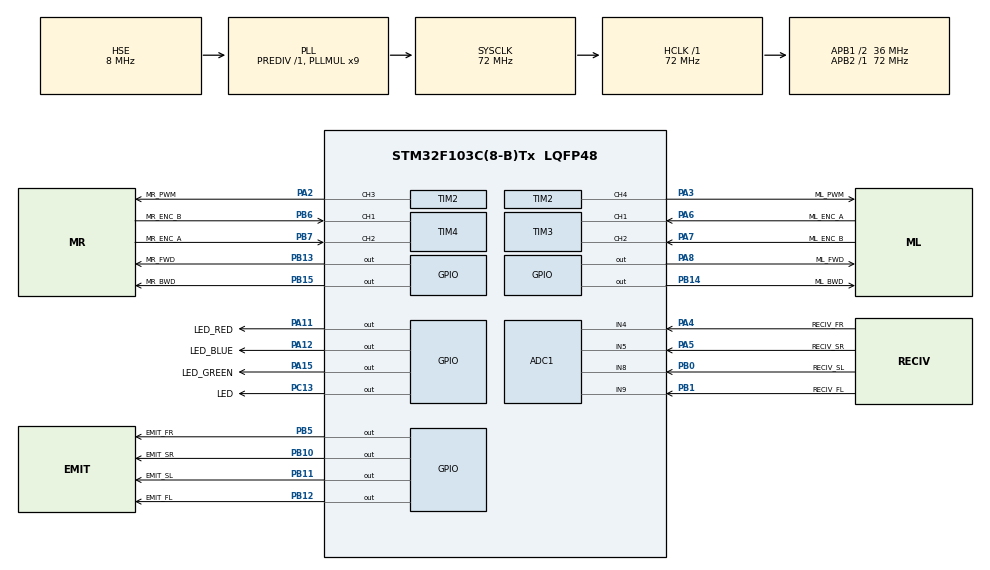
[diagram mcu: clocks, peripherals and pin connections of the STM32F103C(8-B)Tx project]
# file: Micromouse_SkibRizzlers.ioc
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ADC1.Channel-0\#ChannelRegularConversion=ADC_CHANNEL_9
ADC1.NbrOfConversionFlag=1
ADC1.Rank-0\#ChannelRegularConversion=1
ADC1.SamplingTime-0\#ChannelRegularConversion=ADC_SAMPLETIME_1CYCLE_5
ADC1.master=1
Mcu.Family=STM32F1
Mcu.Name=STM32F103C(8-B)Tx
Mcu.Package=LQFP48
NVIC.PriorityGroup=NVIC_PRIORITYGROUP_4
NVIC.TIM3_IRQn=true\:0\:0\:false\:false\:true\:true\:true\:true
NVIC.TIM4_IRQn=true\:0\:0\:false\:false\:true\:true\:true\:true
PA11.GPIO_Label=LED_RED
PA11.Signal=GPIO_Output
PA12.GPIO_Label=LED_BLUE
PA12.Signal=GPIO_Output
PA13.Mode=Serial_Wire
PA13.Signal=SYS_JTMS-SWDIO
PA14.Mode=Serial_Wire
PA14.Signal=SYS_JTCK-SWCLK
PA15.GPIO_Label=LED_GREEN
PA15.Signal=GPIO_Output
PA2.GPIO_Label=MR_PWM
PA2.Signal=S_TIM2_CH3
PA3.GPIO_Label=ML_PWM
PA3.Signal=S_TIM2_CH4
PA4.GPIO_Label=RECIV_FR
PA4.Signal=ADCx_IN4
PA5.GPIO_Label=RECIV_SR
PA5.Signal=ADCx_IN5
PA6.GPIO_Label=ML_ENC_A
PA6.Signal=S_TIM3_CH1
PA7.GPIO_Label=ML_ENC_B
PA7.Signal=S_TIM3_CH2
PA8.GPIO_Label=ML_FWD
PA8.Signal=GPIO_Output
PB0.GPIO_Label=RECIV_SL
PB0.Signal=ADCx_IN8
PB1.GPIO_Label=RECIV_FL
PB1.Signal=ADCx_IN9
PB10.GPIO_Label=EMIT_SR
PB10.Signal=GPIO_Output
PB11.GPIO_Label=EMIT_SL
PB11.Signal=GPIO_Output
PB12.GPIO_Label=EMIT_FL
PB12.Signal=GPIO_Output
PB13.GPIO_Label=MR_FWD
PB13.Signal=GPIO_Output
PB14.GPIO_Label=ML_BWD
PB14.Signal=GPIO_Output
PB15.GPIO_Label=MR_BWD
PB15.Signal=GPIO_Output
PB5.GPIO_Label=EMIT_FR
PB5.Signal=GPIO_Output
PB6.GPIO_Label=MR_ENC_B
PB6.Signal=S_TIM4_CH1
PB7.GPIO_Label=MR_ENC_A
PB7.Signal=S_TIM4_CH2
PC13-TAMPER-RTC.GPIO_Label=LED
PC13-TAMPER-RTC.Signal=GPIO_Output
PD0-OSC_IN.Mode=HSE-External-Oscillator
PD0-OSC_IN.Signal=RCC_OSC_IN
PD1-OSC_OUT.Mode=HSE-External-Oscillator
PD1-OSC_OUT.Signal=RCC_OSC_OUT
ProjectManager.HeapSize=0x200
ProjectManager.StackSize=0x400
ProjectManager.TargetToolchain=STM32CubeIDE
RCC.ADCPresc=RCC_ADCPCLK2_DIV6
RCC.AHBFreq_Value=72000000
RCC.APB1CLKDivider=RCC_HCLK_DIV2
RCC.APB1Freq_Value=36000000
RCC.APB1TimFreq_Value=72000000
RCC.APB2Freq_Value=72000000
RCC.APB2TimFreq_Value=72000000
RCC.HCLKFreq_Value=72000000
RCC.PLLMUL=RCC_PLL_MUL9
RCC.PLLSourceVirtual=RCC_PLLSOURCE_HSE
RCC.SYSCLKFreq_VALUE=72000000
RCC.SYSCLKSource=RCC_SYSCLKSOURCE_PLLCLK
RCC.USBFreq_Value=72000000
SH.ADCx_IN4.0=ADC1_IN4,IN4
SH.ADCx_IN5.0=ADC1_IN5,IN5
SH.ADCx_IN8.0=ADC1_IN8,IN8
SH.ADCx_IN9.0=ADC1_IN9,IN9
SH.S_TIM2_CH3.0=TIM2_CH3,PWM Generation3 CH3
SH.S_TIM2_CH4.0=TIM2_CH4,PWM Generation4 CH4
SH.S_TIM3_CH1.0=TIM3_CH1,Encoder_Interface
SH.S_TIM3_CH2.0=TIM3_CH2,Encoder_Interface
SH.S_TIM4_CH1.0=TIM4_CH1,Encoder_Interface
SH.S_TIM4_CH2.0=TIM4_CH2,Encoder_Interface
TIM2.AutoReloadPreload=TIM_AUTORELOAD_PRELOAD_ENABLE
TIM2.Channel-PWM\ Generation3\ CH3=TIM_CHANNEL_3
TIM2.Channel-PWM\ Generation4\ CH4=TIM_CHANNEL_4
TIM2.Period=2047
TIM3.EncoderMode=TIM_ENCODERMODE_TI12
TIM3.IC1Polarity=TIM_ICPOLARITY_FALLING
TIM4.EncoderMode=TIM_ENCODERMODE_TI12
TIM4.IC1Polarity=TIM_ICPOLARITY_FALLING
VP_TIM2_VS_ClockSourceINT.Mode=Internal
board=custom

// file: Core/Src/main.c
/* USER CODE BEGIN Header */
/**
  ******************************************************************************
  * @file           : main.c
  * @brief          : Main program body
  ******************************************************************************
  * @attention
  *
  * Copyright (c) 2026 STMicroelectronics.
  * All rights reserved.
  *
  * This software is licensed under terms that can be found in the LICENSE file
  * in the root directory of this software component.
  * If no LICENSE file comes with this software, it is provided AS-IS.
  *
  ******************************************************************************
  */
/* USER CODE END Header */
#include "main.h"

/* USER CODE BEGIN Includes */
#include "IR.h"
#include "motors.h"
#include "encoders.h"
#include "PID.h"
#include "control.h"
#include "structures.h"
#include "utilities.h"
#include "floodfill.h"
#include "queue.h"

/* USER CODE END Includes */

ADC_HandleTypeDef hadc1;

TIM_HandleTypeDef htim2;
TIM_HandleTypeDef htim3;
TIM_HandleTypeDef htim4;

/* USER CODE BEGIN PV */
float dis_FL;
float dis_FR;
float dis_SR;
float dis_SL;

bool isWallFront;
bool isWallRight;
bool isWallLeft;

PID pid_left;
PID pid_right;
float target_speed_left;
float target_speed_right;
int16_t base_left;
int16_t base_right;
bool isWallFront;
Maze maze;

//set goals
Coord Goals[] = {{7,7}, {7,8}, {8,7}, {8,8}};
Coord startPos[] = {{0,0}};

/* USER CODE END PV */

void SystemClock_Config(void);
static void MX_GPIO_Init(void);
static void MX_ADC1_Init(void);
static void MX_TIM2_Init(void);
static void MX_TIM3_Init(void);
static void MX_TIM4_Init(void);

/* USER CODE BEGIN 0 */
    bool atGoal(Maze* maze, Coord* goals, int numGoals) {
		for(int i = 0; i < numGoals; i++) {
			if(maze->mouse_pos.x == goals[i].x &&
			   maze->mouse_pos.y == goals[i].y) {
				return true;
			}
		}
		return false;
	}

	void navigateTo(Maze* maze, Coord* goals, int numGoals, bool speedRun) {
		while(!atGoal(maze, goals, numGoals)) {
			if (!speedRun) {
				updateWalls(maze);
			}
			floodFill(maze, goals, numGoals);

			Cell bestCell = getBestCell(maze);
			rotate(maze, bestCell.dir);
			moveForward(maze);

		}
	}
/* USER CODE END 0 */

int main(void)
{

  /* MCU Configuration--------------------------------------------------------*/

  /* Reset of all peripherals, Initializes the Flash interface and the Systick. */
  HAL_Init();

  /* Configure the system clock */
  SystemClock_Config();

  /* Initialize all configured peripherals */
  MX_GPIO_Init();
  MX_ADC1_Init();
  MX_TIM2_Init();
  MX_TIM3_Init();
  MX_TIM4_Init();
  /* USER CODE BEGIN 2 */
	HAL_TIM_PWM_Start(&htim2, TIM_CHANNEL_3);
	HAL_TIM_PWM_Start(&htim2, TIM_CHANNEL_4);

	HAL_TIM_Encoder_Start_IT(&htim3, TIM_CHANNEL_ALL); //left encoder
	HAL_TIM_Encoder_Start_IT(&htim4, TIM_CHANNEL_ALL); //left encoder

	HAL_GPIO_WritePin(LED_BLUE_GPIO_Port, LED_BLUE_Pin, GPIO_PIN_SET);
	HAL_GPIO_WritePin(LED_GREEN_GPIO_Port, LED_GREEN_Pin, GPIO_PIN_SET);
	HAL_GPIO_WritePin(LED_RED_GPIO_Port, LED_RED_Pin, GPIO_PIN_SET);

	motor_direction(MOTOR_LEFT,  'F');
	motor_direction(MOTOR_RIGHT, 'F');

	pid_init(&pid_left,  4.0, 0.0, 2.0);
	pid_init(&pid_right, 4.0, 0.0, 2.0);

	HAL_Delay(1500);
	//  moveForward_cell();
	//
	//  while(wallFront() == 0){
	//  	  moveForward_cell();
	////  	  HAL_Delay(500);
	//  }

	//  motors_stop();

	//
	//  turnLeft_90();

	const int MAX_RUNS = 9;

	//navigation loop
	for(int run = 0; run < MAX_RUNS; run++) {

	//go to goal cells
	navigateTo(&maze, Goals, 4,false);

	//return to start
	navigateTo(&maze, startPos, 1, false);
	}

//	HAL_Delay(1500);
//	turnRight_90();
  /* USER CODE END 2 */

  /* Infinite loop */
  /* USER CODE BEGIN WHILE */

  while (1)
  {
//	  set_target_speeds(0.4, 0.4);

//	  while(isWallRight == 0){
//		  HAL_GPIO_WritePin(LED_RED_GPIO_Port, LED_RED_Pin, GPIO_PIN_SET);
//	  }
//	  HAL_GPIO_WritePin(LED_RED_GPIO_Port, LED_RED_Pin, GPIO_PIN_RESET);
//	  moveForward_cell();

//	  base_left = feedforward_pwm(target_speed_left);
//	  base_right = feedforward_pwm(target_speed_right);
//	  motor_speed(MOTOR_LEFT,  base_left);
//	  motor_speed(MOTOR_RIGHT,  base_right);

	  /*manual motor testing*/
	  //move forward
//	  motor_direction(MOTOR_LEFT,'F');
//	  motor_direction(MOTOR_RIGHT,'F');
//
//	  motor_speed(MOTOR_LEFT,1600);
//	  motor_speed(MOTOR_RIGHT,1600);

////
//	  motors_stop();
//	  HAL_Delay(1000);
//
//	  //move forward slower
//	  motor_direction(MOTOR_LEFT,'F');
//	  motor_direction(MOTOR_RIGHT,'F');
//	  motor_speed(MOTOR_LEFT,1400);
//	  motor_speed(MOTOR_RIGHT,1400);
//	  HAL_Delay(3000);
//
//	  motors_stop();
//	  HAL_Delay(1000);
//
//	  //move backward
//	  motor_direction(MOTOR_LEFT,'B');
//	  motor_direction(MOTOR_RIGHT,'B');
//
//	  motor_speed(MOTOR_LEFT,1800);
//	  motor_speed(MOTOR_RIGHT,1800);
//	  HAL_Delay(3000);
//
//	  motors_stop();
//	  HAL_Delay(1000);
//
//	  //move backward slower
//	  motor_direction(MOTOR_LEFT,'B');
//	  motor_direction(MOTOR_RIGHT,'B');
//	  motor_speed(MOTOR_LEFT,1400);
//	  motor_speed(MOTOR_RIGHT,1400);
//	  HAL_Delay(3000);
//
//	  motors_stop();
//	  HAL_Delay(1000);

    /* USER CODE END WHILE */

  }
}

void SystemClock_Config(void)
{
  RCC_OscInitTypeDef RCC_OscInitStruct = {0};
  RCC_ClkInitTypeDef RCC_ClkInitStruct = {0};
  RCC_PeriphCLKInitTypeDef PeriphClkInit = {0};

  /** Initializes the RCC Oscillators according to the specified parameters
  * in the RCC_OscInitTypeDef structure.
  */
  RCC_OscInitStruct.OscillatorType = RCC_OSCILLATORTYPE_HSE;
  RCC_OscInitStruct.HSEState = RCC_HSE_ON;
  RCC_OscInitStruct.HSEPredivValue = RCC_HSE_PREDIV_DIV1;
  RCC_OscInitStruct.HSIState = RCC_HSI_ON;
  RCC_OscInitStruct.PLL.PLLState = RCC_PLL_ON;
  RCC_OscInitStruct.PLL.PLLSource = RCC_PLLSOURCE_HSE;
  RCC_OscInitStruct.PLL.PLLMUL = RCC_PLL_MUL9;
  if (HAL_RCC_OscConfig(&RCC_OscInitStruct) != HAL_OK)
  {
    Error_Handler();
  }

  /** Initializes the CPU, AHB and APB buses clocks
  */
  RCC_ClkInitStruct.ClockType = RCC_CLOCKTYPE_HCLK|RCC_CLOCKTYPE_SYSCLK
                              |RCC_CLOCKTYPE_PCLK1|RCC_CLOCKTYPE_PCLK2;
  RCC_ClkInitStruct.SYSCLKSource = RCC_SYSCLKSOURCE_PLLCLK;
  RCC_ClkInitStruct.AHBCLKDivider = RCC_SYSCLK_DIV1;
  RCC_ClkInitStruct.APB1CLKDivider = RCC_HCLK_DIV2;
  RCC_ClkInitStruct.APB2CLKDivider = RCC_HCLK_DIV1;

  if (HAL_RCC_ClockConfig(&RCC_ClkInitStruct, FLASH_LATENCY_2) != HAL_OK)
  {
    Error_Handler();
  }
  PeriphClkInit.PeriphClockSelection = RCC_PERIPHCLK_ADC;
  PeriphClkInit.AdcClockSelection = RCC_ADCPCLK2_DIV6;
  if (HAL_RCCEx_PeriphCLKConfig(&PeriphClkInit) != HAL_OK)
  {
    Error_Handler();
  }
}

static void MX_ADC1_Init(void)
{

  ADC_ChannelConfTypeDef sConfig = {0};

  /** Common config
  */
  hadc1.Instance = ADC1;
  hadc1.Init.ScanConvMode = ADC_SCAN_DISABLE;
  hadc1.Init.ContinuousConvMode = DISABLE;
  hadc1.Init.DiscontinuousConvMode = DISABLE;
  hadc1.Init.ExternalTrigConv = ADC_SOFTWARE_START;
  hadc1.Init.DataAlign = ADC_DATAALIGN_RIGHT;
  hadc1.Init.NbrOfConversion = 1;
  if (HAL_ADC_Init(&hadc1) != HAL_OK)
  {
    Error_Handler();
  }

  /** Configure Regular Channel
  */
  sConfig.Channel = ADC_CHANNEL_9;
  sConfig.Rank = ADC_REGULAR_RANK_1;
  sConfig.SamplingTime = ADC_SAMPLETIME_1CYCLE_5;
  if (HAL_ADC_ConfigChannel(&hadc1, &sConfig) != HAL_OK)
  {
    Error_Handler();
  }

}

static void MX_TIM2_Init(void)
{

  TIM_ClockConfigTypeDef sClockSourceConfig = {0};
  TIM_MasterConfigTypeDef sMasterConfig = {0};
  TIM_OC_InitTypeDef sConfigOC = {0};

  htim2.Instance = TIM2;
  htim2.Init.Prescaler = 0;
  htim2.Init.CounterMode = TIM_COUNTERMODE_UP;
  htim2.Init.Period = 2047;
  htim2.Init.ClockDivision = TIM_CLOCKDIVISION_DIV1;
  htim2.Init.AutoReloadPreload = TIM_AUTORELOAD_PRELOAD_ENABLE;
  if (HAL_TIM_Base_Init(&htim2) != HAL_OK)
  {
    Error_Handler();
  }
  sClockSourceConfig.ClockSource = TIM_CLOCKSOURCE_INTERNAL;
  if (HAL_TIM_ConfigClockSource(&htim2, &sClockSourceConfig) != HAL_OK)
  {
    Error_Handler();
  }
  if (HAL_TIM_PWM_Init(&htim2) != HAL_OK)
  {
    Error_Handler();
  }
  sMasterConfig.MasterOutputTrigger = TIM_TRGO_RESET;
  sMasterConfig.MasterSlaveMode = TIM_MASTERSLAVEMODE_DISABLE;
  if (HAL_TIMEx_MasterConfigSynchronization(&htim2, &sMasterConfig) != HAL_OK)
  {
    Error_Handler();
  }
  sConfigOC.OCMode = TIM_OCMODE_PWM1;
  sConfigOC.Pulse = 0;
  sConfigOC.OCPolarity = TIM_OCPOLARITY_HIGH;
  sConfigOC.OCFastMode = TIM_OCFAST_DISABLE;
  if (HAL_TIM_PWM_ConfigChannel(&htim2, &sConfigOC, TIM_CHANNEL_3) != HAL_OK)
  {
    Error_Handler();
  }
  if (HAL_TIM_PWM_ConfigChannel(&htim2, &sConfigOC, TIM_CHANNEL_4) != HAL_OK)
  {
    Error_Handler();
  }
  HAL_TIM_MspPostInit(&htim2);

}

static void MX_TIM3_Init(void)
{

  TIM_Encoder_InitTypeDef sConfig = {0};
  TIM_MasterConfigTypeDef sMasterConfig = {0};

  htim3.Instance = TIM3;
  htim3.Init.Prescaler = 0;
  htim3.Init.CounterMode = TIM_COUNTERMODE_UP;
  htim3.Init.Period = 65535;
  htim3.Init.ClockDivision = TIM_CLOCKDIVISION_DIV1;
  htim3.Init.AutoReloadPreload = TIM_AUTORELOAD_PRELOAD_DISABLE;
  sConfig.EncoderMode = TIM_ENCODERMODE_TI12;
  sConfig.IC1Polarity = TIM_ICPOLARITY_FALLING;
  sConfig.IC1Selection = TIM_ICSELECTION_DIRECTTI;
  sConfig.IC1Prescaler = TIM_ICPSC_DIV1;
  sConfig.IC1Filter = 0;
  sConfig.IC2Polarity = TIM_ICPOLARITY_RISING;
  sConfig.IC2Selection = TIM_ICSELECTION_DIRECTTI;
  sConfig.IC2Prescaler = TIM_ICPSC_DIV1;
  sConfig.IC2Filter = 0;
  if (HAL_TIM_Encoder_Init(&htim3, &sConfig) != HAL_OK)
  {
    Error_Handler();
  }
  sMasterConfig.MasterOutputTrigger = TIM_TRGO_RESET;
  sMasterConfig.MasterSlaveMode = TIM_MASTERSLAVEMODE_DISABLE;
  if (HAL_TIMEx_MasterConfigSynchronization(&htim3, &sMasterConfig) != HAL_OK)
  {
    Error_Handler();
  }

}

static void MX_TIM4_Init(void)
{

  TIM_Encoder_InitTypeDef sConfig = {0};
  TIM_MasterConfigTypeDef sMasterConfig = {0};

  htim4.Instance = TIM4;
  htim4.Init.Prescaler = 0;
  htim4.Init.CounterMode = TIM_COUNTERMODE_UP;
  htim4.Init.Period = 65535;
  htim4.Init.ClockDivision = TIM_CLOCKDIVISION_DIV1;
  htim4.Init.AutoReloadPreload = TIM_AUTORELOAD_PRELOAD_DISABLE;
  sConfig.EncoderMode = TIM_ENCODERMODE_TI12;
  sConfig.IC1Polarity = TIM_ICPOLARITY_FALLING;
  sConfig.IC1Selection = TIM_ICSELECTION_DIRECTTI;
  sConfig.IC1Prescaler = TIM_ICPSC_DIV1;
  sConfig.IC1Filter = 0;
  sConfig.IC2Polarity = TIM_ICPOLARITY_RISING;
  sConfig.IC2Selection = TIM_ICSELECTION_DIRECTTI;
  sConfig.IC2Prescaler = TIM_ICPSC_DIV1;
  sConfig.IC2Filter = 0;
  if (HAL_TIM_Encoder_Init(&htim4, &sConfig) != HAL_OK)
  {
    Error_Handler();
  }
  sMasterConfig.MasterOutputTrigger = TIM_TRGO_RESET;
  sMasterConfig.MasterSlaveMode = TIM_MASTERSLAVEMODE_DISABLE;
  if (HAL_TIMEx_MasterConfigSynchronization(&htim4, &sMasterConfig) != HAL_OK)
  {
    Error_Handler();
  }

}

static void MX_GPIO_Init(void)
{
  GPIO_InitTypeDef GPIO_InitStruct = {0};

  /* GPIO Ports Clock Enable */
  __HAL_RCC_GPIOC_CLK_ENABLE();
  __HAL_RCC_GPIOD_CLK_ENABLE();
  __HAL_RCC_GPIOA_CLK_ENABLE();
  __HAL_RCC_GPIOB_CLK_ENABLE();

  /*Configure GPIO pin Output Level */
  HAL_GPIO_WritePin(LED_GPIO_Port, LED_Pin, GPIO_PIN_RESET);

  /*Configure GPIO pin Output Level */
  HAL_GPIO_WritePin(GPIOB, EMIT_SR_Pin|EMIT_SL_Pin|EMIT_FL_Pin|MR_FWD_Pin
                          |ML_BWD_Pin|MR_BWD_Pin|EMIT_FR_Pin, GPIO_PIN_RESET);

  /*Configure GPIO pin Output Level */
  HAL_GPIO_WritePin(GPIOA, ML_FWD_Pin|LED_RED_Pin|LED_BLUE_Pin|LED_GREEN_Pin, GPIO_PIN_RESET);

  /*Configure GPIO pin : LED_Pin */
  GPIO_InitStruct.Pin = LED_Pin;
  GPIO_InitStruct.Mode = GPIO_MODE_OUTPUT_PP;
  GPIO_InitStruct.Pull = GPIO_NOPULL;
  GPIO_InitStruct.Speed = GPIO_SPEED_FREQ_LOW;
  HAL_GPIO_Init(LED_GPIO_Port, &GPIO_InitStruct);

  /*Configure GPIO pins : EMIT_SR_Pin EMIT_SL_Pin EMIT_FL_Pin MR_FWD_Pin
                           ML_BWD_Pin MR_BWD_Pin EMIT_FR_Pin */
  GPIO_InitStruct.Pin = EMIT_SR_Pin|EMIT_SL_Pin|EMIT_FL_Pin|MR_FWD_Pin
                          |ML_BWD_Pin|MR_BWD_Pin|EMIT_FR_Pin;
  GPIO_InitStruct.Mode = GPIO_MODE_OUTPUT_PP;
  GPIO_InitStruct.Pull = GPIO_NOPULL;
  GPIO_InitStruct.Speed = GPIO_SPEED_FREQ_LOW;
  HAL_GPIO_Init(GPIOB, &GPIO_InitStruct);

  /*Configure GPIO pins : ML_FWD_Pin LED_RED_Pin LED_BLUE_Pin LED_GREEN_Pin */
  GPIO_InitStruct.Pin = ML_FWD_Pin|LED_RED_Pin|LED_BLUE_Pin|LED_GREEN_Pin;
  GPIO_InitStruct.Mode = GPIO_MODE_OUTPUT_PP;
  GPIO_InitStruct.Pull = GPIO_NOPULL;
  GPIO_InitStruct.Speed = GPIO_SPEED_FREQ_LOW;
  HAL_GPIO_Init(GPIOA, &GPIO_InitStruct);

}

void Error_Handler(void)
{
  __disable_irq();
  while (1)
  {
  }
}
